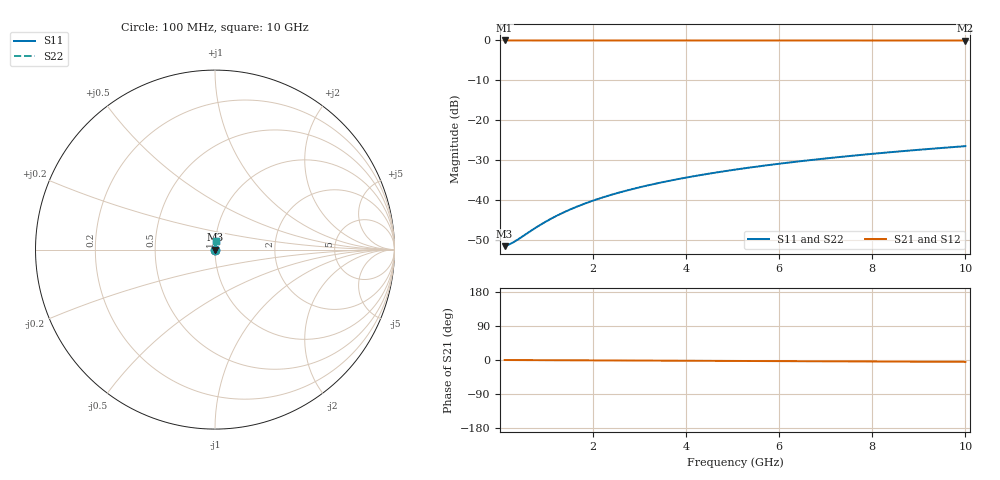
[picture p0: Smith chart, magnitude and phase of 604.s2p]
# Hz S RI R 50.00
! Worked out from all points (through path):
!   100 points, 100 MHz to 10 GHz, reference 50 ohm
!   highest |S21| = -0.02 dB at 100 MHz (marker M1); lowest = 0.0 dB at 10 GHz (marker M2)
!   lowest |S11| = -51.5 dB at 100 MHz (marker M3), VSWR 1.01, Z = 50.3 + j0.0475 ohm
!   |S11| at or under -10 dB: start of sweep to end of sweep
!   |S22| runs from -51.5 to -26.5 dB; largest |S21 - S12| = 0
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1e8  0.00262 0.000472  0.9974 -0.000862  0.9974 -0.000862  0.00262 0.000472
2e8  0.00264 0.000945  0.9974 -0.00172  0.9974 -0.00172  0.00264 0.000945
3e8  0.00265 0.00142  0.9973 -0.00259  0.9973 -0.00259  0.00265 0.00142
4e8  0.00266 0.00189  0.9973 -0.00345  0.9973 -0.00345  0.00266 0.00189
8e8  0.00271 0.00378  0.9973 -0.0069  0.9973 -0.0069  0.00271 0.00378
1.1e9  0.00275 0.00519  0.9972 -0.00948  0.9972 -0.00948  0.00275 0.00519
1.4e9  0.0028 0.00661  0.9972 -0.0121  0.9972 -0.0121  0.0028 0.00661
1.6e9  0.00283 0.00755  0.9971 -0.0138  0.9971 -0.0138  0.00283 0.00755
1.8e9  0.00286 0.0085  0.9971 -0.0155  0.9971 -0.0155  0.00286 0.0085
2.1e9  0.00292 0.00991  0.997 -0.0181  0.997 -0.0181  0.00292 0.00991
2.5e9  0.00301 0.0118  0.9969 -0.0216  0.9969 -0.0216  0.00301 0.0118
2.9e9  0.00311 0.0137  0.9968 -0.025  0.9968 -0.025  0.00311 0.0137
3.4e9  0.00325 0.016  0.9966 -0.0293  0.9966 -0.0293  0.00325 0.016
3.8e9  0.00338 0.0179  0.9965 -0.0327  0.9965 -0.0327  0.00338 0.0179
4.2e9  0.00352 0.0198  0.9963 -0.0362  0.9963 -0.0362  0.00352 0.0198
4.6e9  0.00367 0.0217  0.9961 -0.0396  0.9961 -0.0396  0.00367 0.0217
5.1e9  0.00388 0.024  0.9959 -0.0439  0.9959 -0.0439  0.00388 0.024
5.9e9  0.00426 0.0278  0.9955 -0.0508  0.9955 -0.0508  0.00426 0.0278
6.7e9  0.00469 0.0315  0.9949 -0.0577  0.9949 -0.0577  0.00469 0.0315
7.5e9  0.00516 0.0353  0.9944 -0.0646  0.9944 -0.0646  0.00516 0.0353
8.4e9  0.00577 0.0395  0.9937 -0.0723  0.9937 -0.0723  0.00577 0.0395
1e10  0.00699 0.0469  0.9922 -0.086  0.9922 -0.086  0.00699 0.0469
